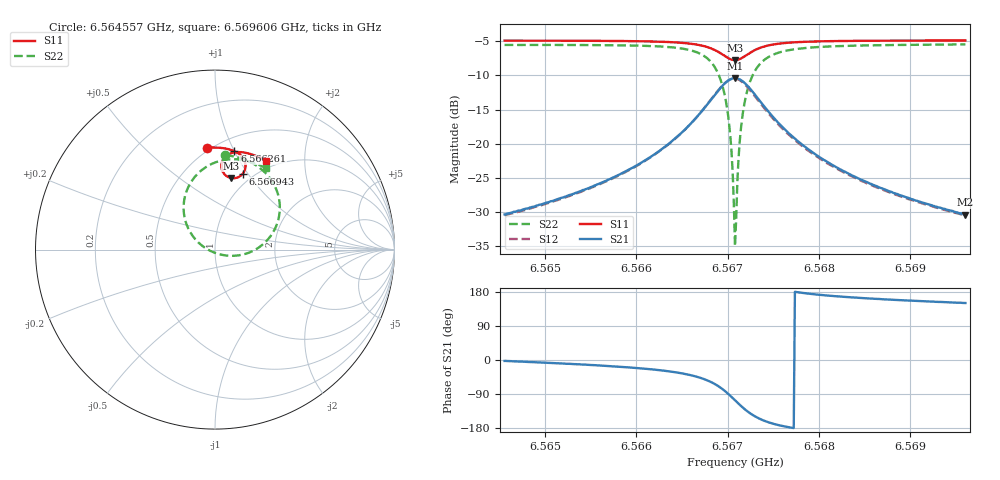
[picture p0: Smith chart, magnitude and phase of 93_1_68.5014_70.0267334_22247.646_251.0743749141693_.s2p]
#  HZ  S  RI  R  50.00
! Rohde & Schwarz Vector Network Analyzer
! Rohde-Schwarz,ZNB20-2Port,1311601062101988,3.16
! Created: UTC 3/20/2024, 4:52:44 PM
! freq[Hz]  re:S11  im:S11  re:S21  im:S21  re:S12  im:S12  re:S22  im:S22
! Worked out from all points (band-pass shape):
!   401 points, 6.564557 GHz to 6.569606 GHz, reference 50 ohm
!   highest |S21| = -10.40 dB at 6.567082 GHz (marker M1); lowest = -30.4 dB at 6.569606 GHz (marker M2)
!   |S21| within 3 dB of the highest: 6.566829 GHz to 6.567334 GHz (505.5 kHz wide, 0.0077 % of centre)
!   lowest |S11| = -7.8 dB at 6.567082 GHz (marker M3), VSWR 2.38, Z = 42 + j40.3 ohm
!   |S11| at or under -10 dB: nowhere
!   |S22| runs from -35.1 to -5.4 dB; largest |S21 - S12| = 0.015
!   S11 on the Smith chart (normalised r, x): 6.564557 GHz: 0.48, +0.80; 6.566261 GHz: 0.63, +1.00; 6.566943 GHz: 0.89, +0.95; 6.569606 GHz: 0.89, +1.30
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6.5645572e9  -0.0465 0.5675  0.0302 -0.0013  0.0297 -0.00177  0.0561 0.5262
6.5654029e9  0.0239 0.5676  0.0441 -0.00937  0.0435 -0.00988  0.14 0.51
6.5662487e9  0.1061 0.5493  0.0785 -0.0395  0.0775 -0.0405  0.2609 0.4461
6.5662613e9  0.1077 0.5487  0.0795 -0.0405  0.0783 -0.0415  0.2634 0.444
6.566539e9  0.1414 0.5273  0.1021 -0.0771  0.1004 -0.0786  0.3237 0.372
6.566741e9  0.1654 0.4921  0.1155 -0.1387  0.1127 -0.1418  0.3606 0.253
6.5668546e9  0.1694 0.4573  0.1035 -0.2  0.0983 -0.2039  0.3428 0.136
6.5669429e9  0.1554 0.4235  0.062 -0.2577  0.0527 -0.2611  0.2657 0.0283
6.5669808e9  0.1419 0.4106  0.0306 -0.2791  0.0191 -0.281  0.2068 -0.00953
6.5670187e9  0.1237 0.4011  -0.00923 -0.293  -0.0222 -0.2922  0.1333 -0.0318
6.5670439e9  0.1096 0.3979  -0.0389 -0.2964  -0.0526 -0.2934  0.0794 -0.0346
6.5670692e9  0.0949 0.398  -0.0695 -0.2937  -0.0831 -0.2881  0.0251 -0.0261
6.5670818e9  0.0877 0.3993  -0.0844 -0.29  -0.0978 -0.2833  -0.00152 -0.0176
6.567107e9  0.0735 0.4043  -0.1134 -0.2783  -0.1254 -0.2694  -0.0507 0.00675
6.5671323e9  0.0612 0.412  -0.1386 -0.2617  -0.1491 -0.2509  -0.0929 0.04
6.5671702e9  0.0471 0.4273  -0.1681 -0.2302  -0.1754 -0.2178  -0.1396 0.0997
6.5672207e9  0.0371 0.4508  -0.1904 -0.1838  -0.1937 -0.1711  -0.1705 0.184
6.5672838e9  0.0368 0.4779  -0.1963 -0.1309  -0.1959 -0.1198  -0.1713 0.2771
6.567511e9  0.0744 0.5298  -0.1505 -0.0295  -0.1472 -0.0249  -0.0682 0.4472
6.5679275e9  0.1375 0.5436  -0.0861 0.00907  -0.084 0.0104  0.0743 0.5022
6.5687733e9  0.2194 0.5253  -0.0419 0.0156  -0.0409 0.016  0.2064 0.4867
6.5696064e9  0.2824 0.4963  -0.0262 0.0149  -0.0256 0.0149  0.2834 0.453
